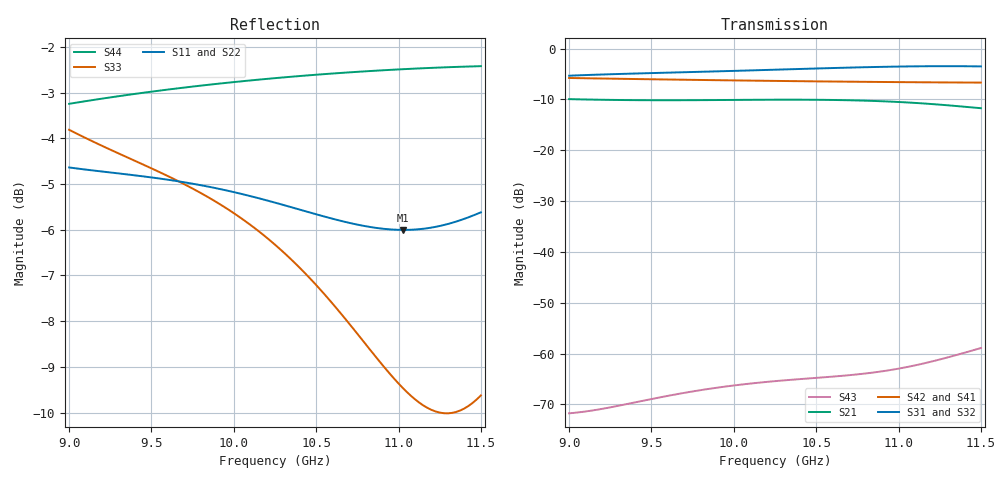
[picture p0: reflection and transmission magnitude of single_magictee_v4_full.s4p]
! Generated from PyAEDT SolutionData; AEDT ExportNetworkData workaround
# GHz S MA R 50
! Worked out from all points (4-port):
!   101 points, 9 GHz to 11.5 GHz, reference 50 ohm
!   strongest paths, dB at 9 GHz, 9.625 GHz, 10.25 GHz, 10.88 GHz, 11.5 GHz:
!     S31: -5.3, -4.7, -4.2, -3.6, -3.5
!     S32: -5.3, -4.7, -4.2, -3.6, -3.5
!     S42: -5.8, -6.1, -6.4, -6.6, -6.7
!     S41: -5.8, -6.1, -6.4, -6.6, -6.7
!     S21: -9.9, -10.2, -10.1, -10.3, -11.7
!     S43: -71.8, -68.2, -65.4, -63.6, -58.9
!   lowest |S11| = -6.0 dB at 11.03 GHz (marker M1), VSWR 3.01, Z = 16.8 + j4.22 ohm
!   |S11| at or under -10 dB: nowhere
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9  0.5863 32.0  0.3181 -62.5  0.5407 -5.1  0.5126 43.3
   0.3181 -62.5  0.5859 32.0  0.5403 -5.1  0.5134 -136.7
   0.5407 -5.1  0.5403 -5.1  0.6447 167.3  0.0002585 165.2
   0.5126 43.3  0.5134 -136.7  0.0002585 165.2  0.6883 -152.8
9.375  0.5755 -13.3  0.3111 -114.4  0.5664 -71.6  0.5012 2.3
       0.3111 -114.4  0.575 -13.3  0.5661 -71.6  0.5022 -177.7
       0.5664 -71.6  0.5661 -71.6  0.5989 80.7  0.0003247 122.3
       0.5012 2.3  0.5022 -177.7  0.0003247 122.3  0.7047 172.2
9.7  0.5648 -51.3  0.3104 -157.8  0.585 -127.1  0.4924 -32.0
     0.3104 -157.8  0.5642 -51.3  0.5848 -127.1  0.4934 147.9
     0.585 -127.1  0.5848 -127.1  0.562 9.1  0.000411 77.6
     0.4924 -32.0  0.4934 147.9  0.000411 77.6  0.7171 142.7
10.05  0.5483 -90.9  0.3127 156.3  0.6062 174.6  0.4839 -67.9
       0.3127 156.3  0.5476 -91.0  0.606 174.6  0.4849 112.0
       0.6062 174.6  0.606 174.6  0.5151 -65.8  0.0004965 26.4
       0.4839 -67.9  0.4849 112.0  0.0004965 26.4  0.7285 111.7
10.525  0.5196 -141.7  0.3131 94.2  0.6381 96.3  0.4742 -115.4
        0.3131 94.2  0.5188 -141.8  0.638 96.3  0.4752 64.5
        0.6381 96.3  0.638 96.3  0.431 -168.6  0.0005808 -39.7
        0.4742 -115.4  0.4752 64.5  0.0005808 -39.7  0.7412 70.4
11.025  0.501 169.2  0.2967 29.8  0.6658 13.0  0.4665 -164.1
        0.2967 29.8  0.5002 169.1  0.6659 12.9  0.4673 15.8
        0.6658 13.0  0.6659 12.9  0.3365 71.8  0.0007234 -98.7
        0.4665 -164.1  0.4673 15.8  0.0007234 -98.7  0.751 27.7
11.5  0.5236 123.1  0.2591 -25.7  0.6673 -69.1  0.462 150.4
      0.2591 -25.7  0.5228 123.1  0.6676 -69.2  0.4625 -29.8
      0.6673 -69.1  0.6676 -69.2  0.3302 -57.5  0.001134 -155.7
      0.462 150.4  0.4625 -29.8  0.001134 -155.7  0.7567 -12.7
